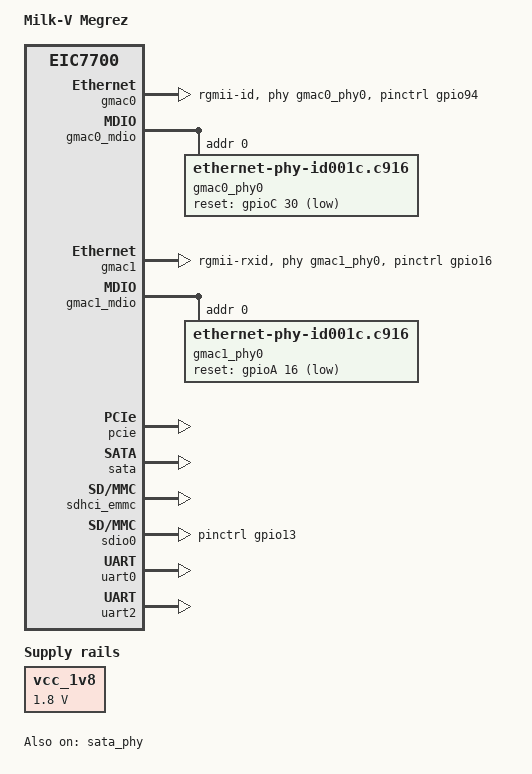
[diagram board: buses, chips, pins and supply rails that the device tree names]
// SPDX-License-Identifier: (GPL-2.0 OR MIT)
/*
 * Copyright (c) 2024, Beijing ESWIN Computing Technology Co., Ltd.
 */

/dts-v1/;

#define CMA_SIZE        0x20000000

#include "eic7700.dtsi"

/ {
	compatible = "milkv,megrez", "eswin,eic7700";
	model = "Milk-V Megrez";

	aliases {
		mmc0 = &sdhci_emmc;
		mmc1 = &sdio0;
		serial0 = &uart0;
		ethernet0 = &gmac0;
		ethernet1 = &gmac1;
	};

	chosen {
		stdout-path = "serial0:115200n8";
	};

	reserved-memory {
		#address-cells = <2>;
		#size-cells = <2>;
		ranges;

		linux,cma {
			compatible = "shared-dma-pool";
			reusable;
			size = <0x0 CMA_SIZE>;
			alignment = <0x0 0x1000>;
			linux,cma-default;
		};
	};

	vcc_1v8: vcc1v8 {
		compatible = "regulator-fixed";
		regulator-name = "vcc1v8";
		regulator-always-on;
		regulator-boot-on;
		regulator-min-microvolt = <1800000>;
		regulator-max-microvolt = <1800000>;
	};
};

&xtal24m {
	clock-frequency = <24000000>;
	clock-output-names = "xtal24m";
};

&pinctrl {
	status = "okay";
	vrgmii-supply = <&vcc_1v8>;

	pinctrl_gpio13: gpio13-grp {
		gpio13-pins {
			pins = "mode_set0";
			function = "gpio";
			input-enable;
			bias-pull-up;
		};
	};

	pinctrl_gpio16: gpio16-grp {
		gpio16-pins {
			pins = "mode_set3";
			function = "gpio";
			input-disable;
			bias-disable;
		};
	};

	pinctrl_gpio94: gpio94-grp {
		gpio94-pins {
			pins = "s_mode";
			function = "gpio";
			input-disable;
			bias-disable;
		};
	};
};

&gmac0 {
	phy-handle = <&gmac0_phy0>;
	phy-mode = "rgmii-id";
	pinctrl-names = "default";
	pinctrl-0 = <&pinctrl_gpio94>;
	status = "okay";
};

&gmac0_mdio {
	gmac0_phy0: ethernet-phy@0 {
		compatible = "ethernet-phy-id001c.c916";
		reg = <0>;
		reset-gpios = <&gpioC 30 GPIO_ACTIVE_LOW>;
		reset-assert-us = <10000>;
		reset-deassert-us = <80000>;
	};
};

&gmac1 {
	phy-handle = <&gmac1_phy0>;
	/*
	 * For the TX path of gmac1, there is a skew between the TX clock
	 * and data on the MAC controller inside the silicon. This skew happens
	 * to be approximately 2 ns. Therefore, it can be considered that the
	 * 2 ns delay of TX is provided by the MAC.
	 * No delay configuration for tx is needed in software via PHY driver.
	 */
	phy-mode = "rgmii-rxid";
	pinctrl-names = "default";
	pinctrl-0 = <&pinctrl_gpio16>;
	rx-internal-delay-ps = <200>;
	tx-internal-delay-ps = <200>;
	status = "okay";
};

&gmac1_mdio {
	gmac1_phy0: ethernet-phy@0 {
		compatible = "ethernet-phy-id001c.c916";
		reg = <0>;
		reset-gpios = <&gpioA 16 GPIO_ACTIVE_LOW>;
		reset-assert-us = <10000>;
		reset-deassert-us = <80000>;
	};
};

&pcie {
	status = "okay";
};

&sata {
	status = "okay";
};

&sata_phy {
	status = "okay";
};

&sdhci_emmc {
	status = "okay";
	/delete-property/ mmc-hs400-1_8v;
	mmc-hs200-1_8v;
};

&sdio0 {
	status = "okay";
	pinctrl-names = "default";
	pinctrl-0 = <&pinctrl_gpio13>;
	cd-gpios = <&gpioA 13 GPIO_ACTIVE_LOW>;
};

&uart0 {
	status = "okay";
};

&uart2 {
	status = "okay";
};
